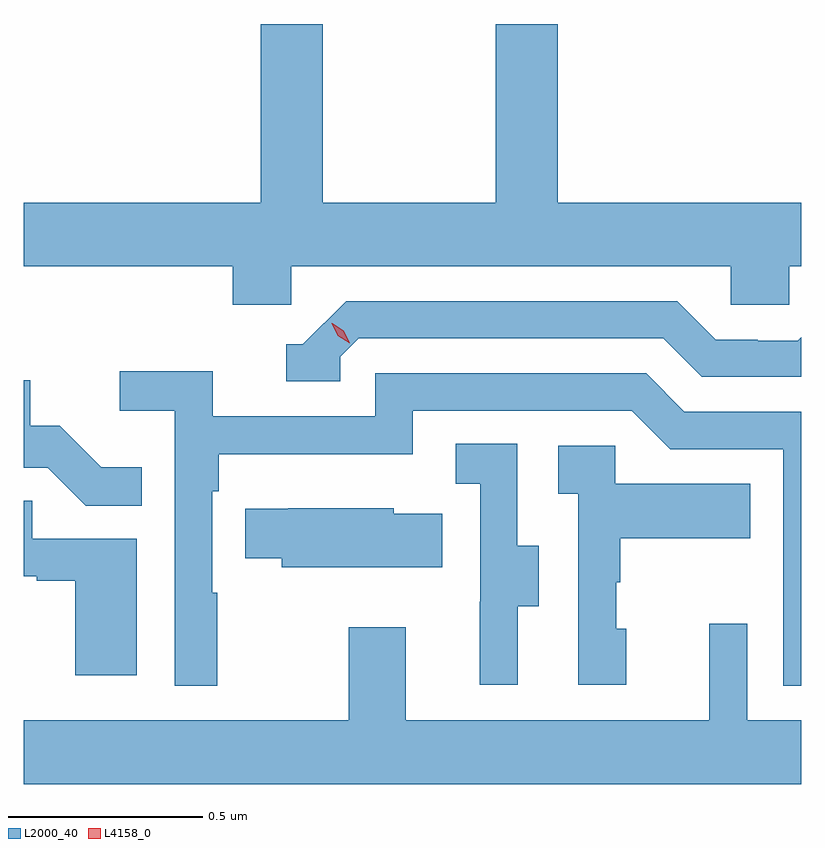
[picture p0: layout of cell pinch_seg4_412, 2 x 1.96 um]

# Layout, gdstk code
import gdstk
lib = gdstk.Library(unit=1e-6, precision=1e-09)
def P(c, l, *ps):  # polygons
    for p in ps: c.add(gdstk.Polygon(p, *l))
L2000_40 = (2000, 40)
L4158_0 = (4158, 0)

pinch_seg4_412 = lib.new_cell('pinch_seg4_412')
P(pinch_seg4_412, L2000_40, [(981.084,775.508),(982.215,775.508),(982.215,775.41),(982.365,775.41),(982.365,775.508),(982.396,775.508),(982.396,775.672),(981.77,775.672),(981.77,776.132),(981.61,776.132),(981.61,775.672),(981.165,775.672),(981.165,776.132),(981.005,776.132),(981.005,775.672),(980.396,775.672),(980.396,775.508),(980.933,775.508),(980.933,775.41),(981.084,775.41)],
  [(981.21,775.275),(981.258,775.323),(982.041,775.323),(982.14,775.224),(982.396,775.224),(982.396,775.326),(982.387,775.317),(982.284,775.317),(982.284,775.32),(982.177,775.32),(982.078,775.419),(981.225,775.419),(981.114,775.308),(981.071,775.308),(981.071,775.212),(981.21,775.212)],
  [(980.893,774.668),(980.88,774.668),(980.88,774.929),(980.897,774.929),(980.897,775.025),(981.396,775.025),(981.396,775.137),(981.96,775.137),(982.059,775.038),(982.35,775.038),(982.35,774.429),(982.396,774.429),(982.396,775.134),(982.096,775.134),(981.997,775.233),(981.3,775.233),(981.3,775.122),(980.882,775.122),(980.882,775.238),(980.643,775.238),(980.643,775.136),(980.784,775.136),(980.784,774.429),(980.893,774.429)],
  [(980.699,774.991),(980.595,774.991),(980.488,775.098),(980.412,775.098),(980.412,775.215),(980.396,775.215),(980.396,774.99),(980.457,774.99),(980.555,774.892),(980.699,774.892)],
  [(981.667,774.634),(981.721,774.634),(981.721,774.789),(981.666,774.789),(981.666,775.052),(981.507,775.052),(981.507,774.949),(981.57,774.949),(981.57,774.645),(981.569,774.645),(981.569,774.432),(981.667,774.432)],
  [(981.946,774.576),(981.921,774.576),(981.921,774.695),(981.931,774.695),(981.931,774.809),(982.265,774.809),(982.265,774.949),(981.918,774.949),(981.918,775.047),(981.771,775.047),(981.771,774.923),(981.822,774.923),(981.822,774.432),(981.946,774.432)],
  [(980.686,774.807),(980.417,774.807),(980.417,774.905),(980.396,774.905),(980.396,774.711),(980.429,774.711),(980.429,774.699),(980.528,774.699),(980.528,774.456),(980.686,774.456)],
  [(981.473,774.871),(981.348,774.871),(981.348,774.886),(981.076,774.886),(981.076,774.885),(980.965,774.885),(980.965,774.757),(981.059,774.757),(981.059,774.734),(981.473,774.734)],
  [(982.396,774.34),(982.257,774.34),(982.257,774.589),(982.16,774.589),(982.16,774.34),(981.379,774.34),(981.379,774.58),(981.232,774.58),(981.232,774.34),(980.396,774.34),(980.396,774.176),(982.396,774.176)])
P(pinch_seg4_412, L4158_0, [(981.234,775.31),(981.204,775.33),(981.188,775.362),(981.188,775.362),(981.189,775.362),(981.219,775.343),(981.235,775.31),(981.235,775.31)])

lib.write_gds('pinch_seg4_412.gds')
